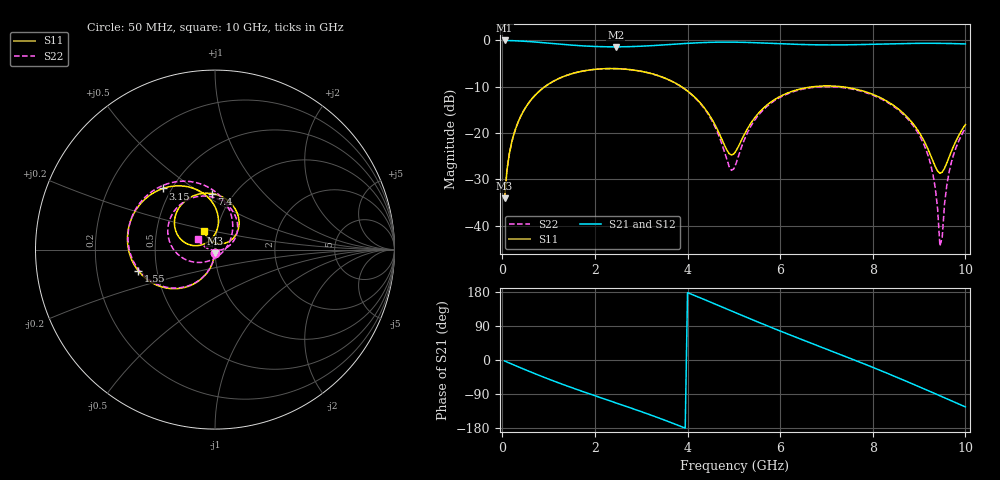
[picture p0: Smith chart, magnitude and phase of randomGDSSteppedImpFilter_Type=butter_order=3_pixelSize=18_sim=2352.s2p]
! freq	dB(S11)	phase(S11)	dB(S12)	phase(S12)
!  dB(S21)	phase(S21)	dB(S22)	phase(S22)
!S-par simulation data
#  GHz  S  DB  R 50
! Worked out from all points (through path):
!   200 points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, 50 MHz to 10 GHz, reference 50 ohm
!   highest |S21| = 0.00 dB at 50 MHz (marker M1); lowest = -1.4 dB at 2.45 GHz (marker M2)
!   group delay of S21, straight-line fit = 133 ps
!   lowest |S11| = -34.1 dB at 50 MHz (marker M3), VSWR 1.04, Z = 49.9 - j1.97 ohm
!   |S11| at or under -10 dB: start of sweep to 918.1 MHz; 3.87 GHz to 6.712 GHz (2.842 GHz wide, 53.7 % of centre); 7.327 GHz to end of sweep
!   |S22| runs from -44.4 to -6.1 dB; largest |S21 - S12| = 0
!   S11 on the Smith chart (normalised r, x): 50 MHz: 1.00, -0.04; 1.55 GHz: 0.39, -0.11; 3.15 GHz: 0.45, +0.38; 7.4 GHz: 0.79, +0.55; 10 GHz: 0.86, +0.19
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0.05  -34.08 -92.6  -0.00 -2.7  -0.00 -2.7  -34.09 -92.7
0.2  -22.13 -100.8  -0.05 -10.5  -0.05 -10.5  -22.14 -101.1
0.45  -15.38 -113.7  -0.16 -23.4  -0.16 -23.4  -15.38 -114.2
1.55  -7.05 -164.7  -1.05 -75.2  -1.05 -75.2  -7.05 -166.6
1.75  -6.60 -173.2  -1.18 -83.7  -1.18 -83.7  -6.60 -175.4
2.45  -6.09 158.4  -1.39 -113.0  -1.39 -113.0  -6.08 154.7
3.15  -6.99 130.4  -1.17 -142.7  -1.17 -142.7  -6.99 123.8
3.4  -7.72 120.2  -1.02 -153.9  -1.02 -153.9  -7.73 112.0
4.25  -13.22 87.7  -0.50 165.3  -0.50 165.3  -13.32 65.6
4.6  -18.35 83.4  -0.38 147.4  -0.38 147.4  -18.77 38.0
4.9  -24.45 114.8  -0.36 131.9  -0.36 131.9  -27.28 -23.5
5.05  -23.82 148.3  -0.37 124.2  -0.37 124.2  -26.52 -89.1
5.65  -14.52 164.9  -0.56 93.7  -0.56 93.7  -14.84 -163.9
6.7  -10.01 124.1  -0.93 43.0  -0.93 43.0  -10.16 139.0
7.4  -10.09 93.5  -0.95 9.8  -0.95 9.8  -10.25 104.3
8.35  -13.39 51.6  -0.74 -36.9  -0.74 -36.9  -13.58 55.5
9.15  -22.55 31.1  -0.61 -78.4  -0.61 -78.4  -23.60 10.0
9.35  -27.24 49.1  -0.62 -89.0  -0.62 -89.0  -31.90 -6.8
9.45  -28.68 73.3  -0.63 -94.3  -0.63 -94.3  -44.44 -49.6
9.5  -28.45 87.3  -0.63 -97.0  -0.63 -97.0  -42.48 -152.1
9.65  -25.14 114.4  -0.66 -105.0  -0.66 -105.0  -28.35 171.9
10  -18.17 120.7  -0.76 -123.8  -0.76 -123.8  -18.96 148.4
